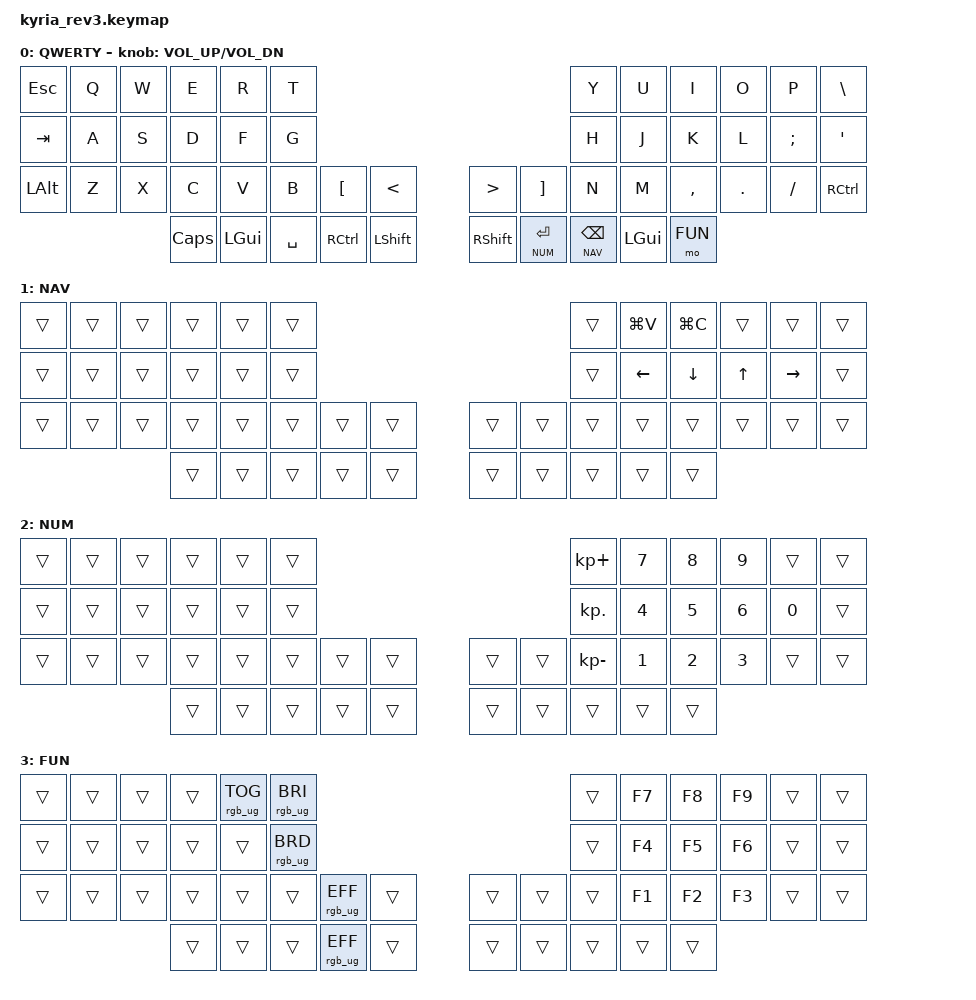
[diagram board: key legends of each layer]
/*
 * Copyright (c) 2023 The ZMK Contributors
 *
 * SPDX-License-Identifier: MIT
 */

#include <behaviors.dtsi>
#include <dt-bindings/zmk/keys.h>
#include <dt-bindings/zmk/rgb.h>

#define QWERTY    0
#define NAV       1
#define FUN       3
#define NUM       2

&led_strip {
    chain-length = <31>;
};

/ {
    combos {
         compatible = "zmk,combos";
         combo_EXCL {
             timeout-ms = <50>;
             key-positions = <3 16>;
             bindings = <&kp EXCL>;
         };
         combo_AT {
             timeout-ms = <50>;
             key-positions = <2 14>;
             bindings = <&kp AT>;
         };
         combo_HASH {
             timeout-ms = <50>;
             key-positions = <3 15>;
             bindings = <&kp HASH>;
         };
         combo_DLLR {
             timeout-ms = <50>;
             key-positions = <4 16>;
             bindings = <&kp DLLR>;
         };
         combo_PRCNT {
             timeout-ms = <50>;
             key-positions = <5 17>;
             bindings = <&kp PRCNT>;
         };
         combo_CARET {
             timeout-ms = <50>;
             key-positions = <6 18>;
             bindings = <&kp CARET>;
         };
         combo_AMPS {
             timeout-ms = <50>;
             key-positions = <7 19>;
             bindings = <&kp AMPS>;
         };
         combo_STAR {
             timeout-ms = <50>;
             key-positions = <8 20>;
             bindings = <&kp STAR>;
         };
         combo_QMARK {
             timeout-ms = <50>;
             key-positions = <8 19>;
             bindings = <&kp QMARK>;
         };
         combo_COLON {
             timeout-ms = <50>;
             key-positions = <35 20>;
             bindings = <&kp COLON>;
         };
         combo_DQT {
             timeout-ms = <50>;
             key-positions = <19 20>;
             bindings = <&kp DQT>;
         };
         combo_SQT {
             timeout-ms = <50>;
             key-positions = <20 21>;
             bindings = <&kp SQT>;
         };
         combo_UNDER{
             timeout-ms = <50>;
             key-positions = <15 28>;
             bindings = <&kp UNDER>;
         };
         combo_TILDE {
             timeout-ms = <50>;
             key-positions = <16 28>;
             bindings = <&kp TILDE>;
         };
         combo_GRAVE {
             timeout-ms = <50>;
             key-positions = <15 27>;
             bindings = <&kp GRAVE>;
         };
         combo_LBRC {
             timeout-ms = <50>;
             key-positions = <30 43>;
             bindings = <&kp LBRC>;
         };
         combo_RBRC {
             timeout-ms = <50>;
             key-positions = <33 46>;
             bindings = <&kp RBRC>;
         };
         combo_LPAR {
             timeout-ms = <50>;
             key-positions = <31 44>;
             bindings = <&kp LPAR>;
         };
         combo_RPAR {
             timeout-ms = <50>;
             key-positions = <32 45>;
             bindings = <&kp RPAR>;
         };
         combo_MINUS {
             timeout-ms = <50>;
             key-positions = <16 17>;
             bindings = <&kp KP_MINUS>;
         };
         combo_PLUS {
             timeout-ms = <50>;
             key-positions = <14 15>;
             bindings = <&kp KP_PLUS>;
         };
         combo_EQUAL {
             timeout-ms = <50>;
             key-positions = <15 16>;
             bindings = <&kp EQUAL>;
         };

    };
    keymap {
        compatible = "zmk,keymap";

        QWERTY {
            bindings = <
            // ╭──────0──────┬──────1──────┬─────2───────┬─────3───────┬─────4───────┬──────5──────╮                                                                            ╭──────6──────┬──────7──────┬─────8───────┬──────9──────┬─────10──────┬─────11──────╮
                 &kp ESC       &kp Q          &kp W         &kp E         &kp R           &kp T                                                                                      &kp Y         &kp U         &kp I         &kp O         &kp P        &kp BSLH
            // ├─────12──────┼─────13──────┼─────14──────┼─────15──────┼─────16──────┼──────17─────┤                                                                            ├──────18─────┼─────19──────┼─────20──────┼──────21─────┼─────22──────┼─────23──────┤
                 &kp TAB       &kp A          &kp S         &kp  D        &kp F           &kp G                                                                                      &kp H         &kp J         &kp K        &kp  L        &kp SEMI     &kp SQT
            // ├─────24──────┼─────25──────┼─────26──────┼─────27──────┼─────28──────┼──────29─────┤─────30──────┼─────31──────╮                   ╭──────32──────┬─────33──────┬──────34─────┼─────35──────┼─────36──────┼─────37─────┼─────38──────┼─────39──────┤
                 &kp LALT      &kp Z         &kp X         &kp C         &kp V           &kp B        &kp LBKT      &kp LT                            &kp GT         &kp RBKT         &kp N         &kp M       &kp COMMA     &kp DOT       &kp SLASH    &kp RCTRL
            // ╰─────────────┴─────────────┴─────────────┴─────40──────┼─────41──────┼──────42─────┤─────43──────┴─────44──────┤                   ├──────45──────┼─────46──────┼──────47─────┼─────48──────┼─────49──────┼─────────────┤─────────────┼─────────────┤
                                                             &kp CAPS     &kp LGUI     &kp SPACE       &kp RCTRL    &kp LSHFT                          &kp RSHFT     &lt NUM RET  &lt NAV BSPC     &kp LGUI     &mo FUN
            //                                           ╰─────────────┴─────────────┴─────────────┴─────────────┴─────────────╯                   ╰──────────────┴─────────────┴─────────────┴─────────────┴─────────────╯
          >;
          sensor-bindings = <&inc_dec_kp C_VOL_UP C_VOL_DN>;
        };

        NAV {
            bindings = <
            // ╭──────0──────┬──────1──────┬─────2───────┬─────3───────┬─────4───────┬──────5──────╮                                                                            ╭──────6──────┬──────7──────┬─────8───────┬──────9──────┬─────10──────┬─────11──────╮
                 &trans        &trans         &trans         &trans        &trans       &trans                                                                                      &trans    &kp LG(V)      &kp LG(C)    &trans         &trans        &trans
            // ├─────12──────┼─────13──────┼─────14──────┼─────15──────┼─────16──────┼──────17─────┤                                                                            ├──────18─────┼─────19──────┼─────20──────┼──────21─────┼─────22──────┼─────23──────┤
                 &trans        &trans         &trans         &trans        &trans       &trans                                                                                      &trans      &kp LEFT      &kp DOWN      &kp UP        &kp RIGHT       &trans
            // ├─────24──────┼─────25──────┼─────26──────┼─────27──────┼─────28──────┼──────29─────┤─────30──────┼─────31──────╮                   ╭──────32──────┬─────33──────┬──────34─────┼─────35──────┼─────36──────┼──────37─────┼─────38──────┼─────39──────┤
                 &trans         &trans         &trans         &trans       &trans       &trans        &trans       &trans                            &trans          &trans          &trans      &trans        &trans        &trans        &trans         &trans
            // ╰─────40──────┴─────41──────┴─────42──────┴─────43──────┼─────44──────┼──────45─────┤─────46──────┴─────47──────┤                   ├──────48──────┼─────49──────┼──────50─────┼─────51──────┼─────52──────┼─────────────┤─────────────┼─────────────┤
                                                              &trans       &trans       &trans        &trans       &trans                            &trans          &trans          &trans      &trans        &trans
            //                                           ╰─────────────┴─────────────┴─────────────┴─────────────┴─────────────╯                   ╰──────────────┴─────────────┴─────────────┴─────────────┴─────────────╯
          >;
        };

        NUM {
            bindings = <
            // ╭──────0──────┬──────1──────┬─────2───────┬─────3───────┬─────4───────┬──────5──────╮                                                                            ╭──────6──────┬──────7──────┬─────8───────┬──────9──────┬─────10──────┬─────11──────╮
                 &trans        &trans         &trans         &trans        &trans         &trans                                                                                  &kp KP_PLUS     &kp N7       &kp N8         &kp N9         &trans      &trans
            // ├─────12──────┼─────13──────┼─────14──────┼─────15──────┼─────16──────┼──────17─────┤                                                                            ├──────18─────┼─────19──────┼─────20──────┼──────21─────┼─────22──────┼─────23──────┤
                 &trans        &trans         &trans         &trans        &trans         &trans                                                                                  &kp KP_DOT      &kp N4       &kp N5         &kp N6        &kp N0        &trans
            // ├─────24──────┼─────25──────┼─────26──────┼─────27──────┼─────28──────┼──────29─────┤─────30──────┼─────31──────╮                   ╭──────32──────┬─────33──────┬──────34─────┼─────35──────┼─────36──────┼──────37─────┼─────38──────┼─────39──────┤
                 &trans         &trans         &trans         &trans       &trans       &trans        &trans       &trans                            &trans          &trans      &kp KP_MINUS      &kp N1       &kp N2         &kp N3        &trans        &trans
            // ╰─────40──────┴─────41──────┴─────42──────┴─────43──────┼─────44──────┼──────45─────┤─────46──────┴─────47──────┤                   ├──────48──────┼─────49──────┼──────50─────┼─────51──────┼─────52──────┼─────────────┤─────────────┼─────────────┤
                                                              &trans       &trans       &trans        &trans       &trans                            &trans          &trans          &trans      &trans        &trans
            //                                           ╰─────────────┴─────────────┴─────────────┴─────────────┴─────────────╯                   ╰──────────────┴─────────────┴─────────────┴─────────────┴─────────────╯
          >;
        };

        FUN {
            bindings = <
            // ╭──────0──────┬──────1──────┬─────2───────┬─────3───────┬─────4───────┬──────5──────╮                                                                            ╭──────6──────┬──────7──────┬─────8───────┬──────9──────┬─────10──────┬─────11──────╮
                 &trans        &trans         &trans         &trans     &rgb_ug RGB_TOG &rgb_ug RGB_BRI                                                                              &trans       &kp F7       &kp F8         &kp F9        &trans        &trans
            // ├─────12──────┼─────13──────┼─────14──────┼─────15──────┼─────16──────┼──────17─────┤                                                                            ├──────18─────┼─────19──────┼─────20──────┼──────21─────┼─────22──────┼─────23──────┤
                 &trans        &trans         &trans         &trans        &trans      &rgb_ug RGB_BRD                                                                               &trans       &kp F4       &kp F5         &kp F6        &trans         &trans
            // ├─────24──────┼─────25──────┼─────26──────┼─────27──────┼─────28──────┼──────29─────┤─────30──────┼─────31──────╮                   ╭──────32──────┬─────33──────┬──────34─────┼─────35──────┼─────36──────┼──────37─────┼─────38──────┼─────39──────┤
                 &trans         &trans         &trans         &trans       &trans       &trans      &rgb_ug RGB_EFF  &trans                            &trans          &trans          &trans       &kp F1       &kp F2         &kp F3        &trans          &trans
            // ╰─────40──────┴─────41──────┴─────42──────┴─────43──────┼─────44──────┼──────45─────┤─────46──────┴─────47──────┤                   ├──────48──────┼─────49──────┼──────50─────┼─────51──────┼─────52──────┼─────────────┤─────────────┼─────────────┤
                                                              &trans       &trans       &trans      &rgb_ug RGB_EFF   &trans                            &trans          &trans          &trans      &trans        &trans
            //                                           ╰─────────────┴─────────────┴─────────────┴─────────────┴─────────────╯                   ╰──────────────┴─────────────┴─────────────┴─────────────┴─────────────╯
          >;
        };
    };
};
